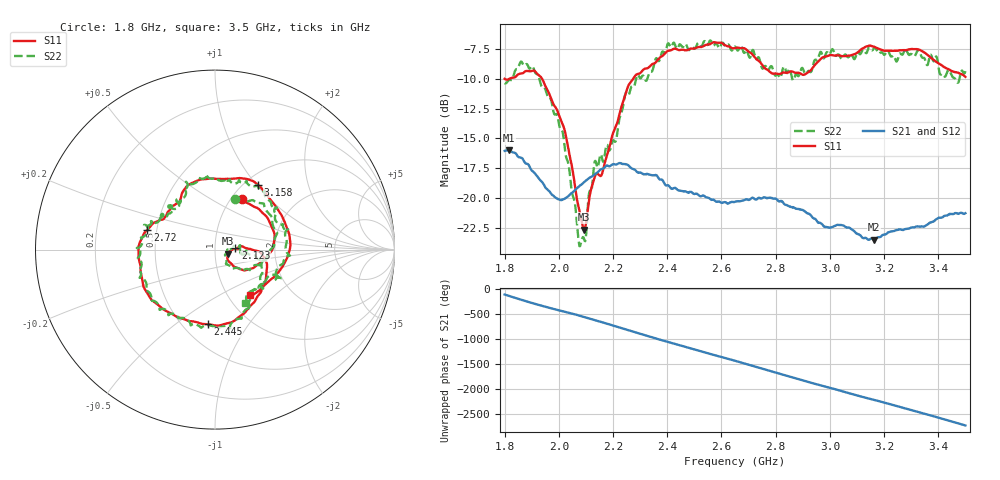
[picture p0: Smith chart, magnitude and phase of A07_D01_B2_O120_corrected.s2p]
! Created with skrf 1.9.0 (http://scikit-rf.org).
# Hz S RI R 50.0
!freq ReS11 ImS11 ReS21 ImS21 ReS12 ImS12 ReS22 ImS22
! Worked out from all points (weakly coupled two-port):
!   1601 points, 1.8 GHz to 3.5 GHz, reference 50 ohm
!   highest |S21| = -16.00 dB at 1.816 GHz (marker M1); lowest = -23.5 dB at 3.163 GHz (marker M2)
!   lowest |S11| = -22.6 dB at 2.093 GHz (marker M3), VSWR 1.16, Z = 57.5 - j2.67 ohm
!   |S11| at or under -10 dB: 1.801 GHz to 1.817 GHz (16.13 MHz wide, 0.892 % of centre); 1.939 GHz to 2.274 GHz (335.7 MHz wide, 15.9 % of centre)
!   |S22| runs from -24.0 to -6.8 dB; largest |S21 - S12| = 0.0031
!   S11 on the Smith chart (normalised r, x): 1.8 GHz: 1.12, +0.70; 2.123 GHz: 1.25, +0.02; 2.445 GHz: 0.66, -0.66; 2.72 GHz: 0.44, +0.11; 3.158 GHz: 1.14, +1.02; 3.5 GHz: 1.26, -0.72
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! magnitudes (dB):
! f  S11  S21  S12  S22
! 1.8 GHz  -10.0  -16.0  -16.0  -10.4
! 1.816 GHz  -10.0  -16.0  -16.0  -10.1
! 1.901 GHz  -9.3  -17.7  -17.6  -8.9
! 1.969 GHz  -11.5  -19.6  -19.6  -11.6
! 2.022 GHz  -14.4  -20.1  -20.1  -15.8
! 2.073 GHz  -20.7  -19.1  -19.1  -23.6
! 2.084 GHz  -21.9  -18.9  -18.8  -23.5
! 2.093 GHz  -22.6  -18.7  -18.7  -23.4
! 2.123 GHz  -18.9  -18.2  -18.2  -19.0
! 2.161 GHz  -17.8  -17.5  -17.5  -16.8
! 2.209 GHz  -14.1  -17.2  -17.1  -15.3
! 2.259 GHz  -10.5  -17.3  -17.3  -11.3
! 2.367 GHz  -8.3  -18.3  -18.3  -8.5
! 2.445 GHz  -7.6  -19.4  -19.4  -7.1
! 2.65 GHz  -7.4  -20.3  -20.3  -7.3
! 2.72 GHz  -8.1  -20.0  -20.0  -7.8
! 2.81 GHz  -9.6  -20.3  -20.2  -9.7
! 2.934 GHz  -9.2  -21.6  -21.6  -9.3
! 3.158 GHz  -7.3  -23.5  -23.4  -7.6
! 3.163 GHz  -7.3  -23.5  -23.5  -7.4
! 3.217 GHz  -7.6  -22.9  -22.9  -7.7
! 3.5 GHz  -9.8  -21.3  -21.3  -9.3
